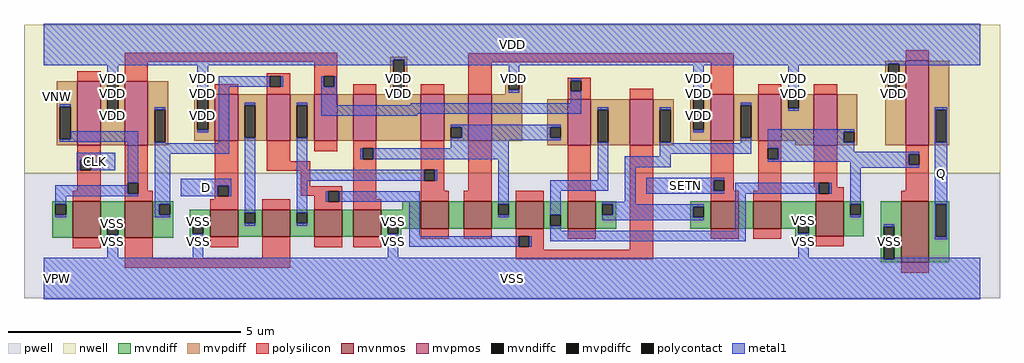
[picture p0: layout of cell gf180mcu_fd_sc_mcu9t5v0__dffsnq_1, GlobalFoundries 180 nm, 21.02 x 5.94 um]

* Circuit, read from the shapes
.subckt gf180mcu_fd_sc_mcu9t5v0__dffsnq_1 D SETN CLK Q VDD VNW VPW VSS
XM1 VSS CLK n1 VPW nfet_06v0 w=0.79u l=0.6u
XM2 n2 n1 VSS VPW nfet_06v0 w=0.79u l=0.6u
XM3 n3 D VSS VPW nfet_06v0 w=0.59u l=0.6u
XM4 n4 n1 n3 VPW nfet_06v0 w=0.59u l=0.6u
XM5 n5 n2 n4 VPW nfet_06v0 w=0.59u l=0.6u
XM6 VSS n6 n5 VPW nfet_06v0 w=0.59u l=0.6u
XM7 n7 n4 VSS VPW nfet_06v0 w=0.59u l=0.6u
XM8 n6 SETN n7 VPW nfet_06v0 w=0.59u l=0.6u
XM9 n8 n2 n6 VPW nfet_06v0 w=0.59u l=0.6u
XM10 n9 n1 n8 VPW nfet_06v0 w=0.59u l=0.6u
XM11 n10 SETN n9 VPW nfet_06v0 w=0.59u l=0.6u
XM12 VSS n11 n10 VPW nfet_06v0 w=0.59u l=0.6u
XM13 n11 n8 VSS VPW nfet_06v0 w=0.75u l=0.6u
XM14 Q n11 VSS VPW nfet_06v0 w=1.32u l=0.6u
XM15 VDD CLK n1 VNW pfet_06v0 w=1.38u l=0.5u
XM16 n2 n1 VDD VNW pfet_06v0 w=1.38u l=0.5u
XM17 n3 D VDD VNW pfet_06v0 w=1u l=0.5u
XM18 n4 n2 n3 VNW pfet_06v0 w=1u l=0.5u
XM19 n12 n1 n4 VNW pfet_06v0 w=1u l=0.5u
XM20 VDD n6 n12 VNW pfet_06v0 w=1u l=0.5u
XM21 n6 n4 VDD VNW pfet_06v0 w=1u l=0.5u
XM22 VDD SETN n6 VNW pfet_06v0 w=1u l=0.5u
XM23 n8 n1 n6 VNW pfet_06v0 w=1u l=0.5u
XM24 n9 n2 n8 VNW pfet_06v0 w=1u l=0.5u
XM25 n9 SETN VDD VNW pfet_06v0 w=1u l=0.5u
XM26 VDD n11 n9 VNW pfet_06v0 w=1u l=0.5u
XM27 n11 n8 VDD VNW pfet_06v0 w=1.1u l=0.5u
XM28 Q n11 VDD VNW pfet_06v0 w=1.83u l=0.5u
.ends

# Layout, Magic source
magic
tech gf180mcuD
magscale 1 10
<< nwell >>
rect -86 453 4118 1094
<< pwell >>
rect -86 -86 4118 453
<< mvnmos >>
rect 124 175 244 333
rect 348 175 468 333
rect 716 179 836 297
rect 940 179 1060 297
rect 1164 179 1284 297
rect 1332 179 1452 297
rect 1624 215 1744 333
rect 1808 215 1928 333
rect 2032 215 2152 333
rect 2256 215 2376 333
rect 2872 215 2992 333
rect 3056 215 3176 333
rect 3324 183 3444 333
rect 3692 69 3812 333
<< mvpmos >>
rect 144 573 244 849
rect 348 573 448 849
rect 736 593 836 793
rect 960 593 1060 793
rect 1164 593 1264 793
rect 1332 593 1432 793
rect 1624 593 1724 793
rect 1828 593 1928 793
rect 2256 573 2356 773
rect 2524 573 2624 773
rect 2872 593 2972 793
rect 3076 593 3176 793
rect 3316 573 3416 793
rect 3712 573 3812 939
<< mvndiff >>
rect 36 320 124 333
rect 36 274 49 320
rect 95 274 124 320
rect 36 175 124 274
rect 244 234 348 333
rect 244 188 273 234
rect 319 188 348 234
rect 244 175 348 188
rect 468 320 556 333
rect 468 274 497 320
rect 543 274 556 320
rect 1544 297 1624 333
rect 468 175 556 274
rect 628 238 716 297
rect 628 192 641 238
rect 687 192 716 238
rect 628 179 716 192
rect 836 284 940 297
rect 836 238 865 284
rect 911 238 940 284
rect 836 179 940 238
rect 1060 284 1164 297
rect 1060 238 1089 284
rect 1135 238 1164 284
rect 1060 179 1164 238
rect 1284 179 1332 297
rect 1452 238 1624 297
rect 1452 192 1481 238
rect 1527 215 1624 238
rect 1744 215 1808 333
rect 1928 320 2032 333
rect 1928 274 1957 320
rect 2003 274 2032 320
rect 1928 215 2032 274
rect 2152 274 2256 333
rect 2152 228 2181 274
rect 2227 228 2256 274
rect 2152 215 2256 228
rect 2376 320 2464 333
rect 2376 274 2405 320
rect 2451 274 2464 320
rect 2376 215 2464 274
rect 1527 192 1540 215
rect 1452 179 1540 192
rect 2784 309 2872 333
rect 2784 263 2797 309
rect 2843 263 2872 309
rect 2784 215 2872 263
rect 2992 215 3056 333
rect 3176 242 3324 333
rect 3176 215 3249 242
rect 3236 196 3249 215
rect 3295 196 3324 242
rect 3236 183 3324 196
rect 3444 320 3532 333
rect 3444 274 3473 320
rect 3519 274 3532 320
rect 3444 183 3532 274
rect 3604 222 3692 333
rect 3604 82 3617 222
rect 3663 82 3692 222
rect 3604 69 3692 82
rect 3812 320 3900 333
rect 3812 180 3841 320
rect 3887 180 3900 320
rect 3812 69 3900 180
<< mvpdiff >>
rect 56 739 144 849
rect 56 599 69 739
rect 115 599 144 739
rect 56 573 144 599
rect 244 836 348 849
rect 244 696 273 836
rect 319 696 348 836
rect 244 573 348 696
rect 448 726 536 849
rect 1492 943 1564 956
rect 1492 803 1505 943
rect 1551 803 1564 943
rect 1492 793 1564 803
rect 1988 858 2060 871
rect 1988 812 2001 858
rect 2047 812 2060 858
rect 1988 793 2060 812
rect 448 586 477 726
rect 523 586 536 726
rect 648 780 736 793
rect 648 640 661 780
rect 707 640 736 780
rect 648 593 736 640
rect 836 746 960 793
rect 836 606 865 746
rect 911 606 960 746
rect 836 593 960 606
rect 1060 746 1164 793
rect 1060 606 1089 746
rect 1135 606 1164 746
rect 1060 593 1164 606
rect 1264 593 1332 793
rect 1432 593 1624 793
rect 1724 652 1828 793
rect 1724 606 1753 652
rect 1799 606 1828 652
rect 1724 593 1828 606
rect 1928 593 2060 793
rect 3624 926 3712 939
rect 2784 780 2872 793
rect 2168 652 2256 773
rect 2168 606 2181 652
rect 2227 606 2256 652
rect 448 573 536 586
rect 2168 573 2256 606
rect 2356 726 2524 773
rect 2356 586 2385 726
rect 2431 586 2524 726
rect 2356 573 2524 586
rect 2624 726 2712 773
rect 2624 586 2653 726
rect 2699 586 2712 726
rect 2784 640 2797 780
rect 2843 640 2872 780
rect 2784 593 2872 640
rect 2972 746 3076 793
rect 2972 606 3001 746
rect 3047 606 3076 746
rect 2972 593 3076 606
rect 3176 780 3316 793
rect 3176 734 3205 780
rect 3251 734 3316 780
rect 3176 593 3316 734
rect 2624 573 2712 586
rect 3236 573 3316 593
rect 3416 632 3504 793
rect 3416 586 3445 632
rect 3491 586 3504 632
rect 3416 573 3504 586
rect 3624 786 3637 926
rect 3683 786 3712 926
rect 3624 573 3712 786
rect 3812 726 3900 939
rect 3812 586 3841 726
rect 3887 586 3900 726
rect 3812 573 3900 586
<< mvndiffc >>
rect 49 274 95 320
rect 273 188 319 234
rect 497 274 543 320
rect 641 192 687 238
rect 865 238 911 284
rect 1089 238 1135 284
rect 1481 192 1527 238
rect 1957 274 2003 320
rect 2181 228 2227 274
rect 2405 274 2451 320
rect 2797 263 2843 309
rect 3249 196 3295 242
rect 3473 274 3519 320
rect 3617 82 3663 222
rect 3841 180 3887 320
<< mvpdiffc >>
rect 69 599 115 739
rect 273 696 319 836
rect 1505 803 1551 943
rect 2001 812 2047 858
rect 477 586 523 726
rect 661 640 707 780
rect 865 606 911 746
rect 1089 606 1135 746
rect 1753 606 1799 652
rect 2181 606 2227 652
rect 2385 586 2431 726
rect 2653 586 2699 726
rect 2797 640 2843 780
rect 3001 606 3047 746
rect 3205 734 3251 780
rect 3445 586 3491 632
rect 3637 786 3683 926
rect 3841 586 3887 726
<< polysilicon >>
rect 348 933 1264 973
rect 144 849 244 893
rect 348 849 448 933
rect 960 872 1060 885
rect 736 793 836 837
rect 960 826 973 872
rect 1019 826 1060 872
rect 960 793 1060 826
rect 1164 872 1264 933
rect 1164 826 1205 872
rect 1251 826 1264 872
rect 1164 793 1264 826
rect 1332 793 1432 837
rect 1828 931 2972 971
rect 3712 939 3812 983
rect 1624 793 1724 837
rect 1828 793 1928 931
rect 2256 852 2356 865
rect 2256 806 2269 852
rect 2315 806 2356 852
rect 2256 773 2356 806
rect 2524 773 2624 817
rect 2872 793 2972 931
rect 3076 793 3176 837
rect 3316 793 3416 837
rect 144 512 244 573
rect 144 466 157 512
rect 203 466 244 512
rect 144 377 244 466
rect 124 333 244 377
rect 348 412 448 573
rect 348 366 361 412
rect 407 377 448 412
rect 736 400 836 593
rect 960 504 1060 593
rect 1164 549 1264 593
rect 1332 560 1432 593
rect 1332 514 1373 560
rect 1419 514 1432 560
rect 960 464 1147 504
rect 407 366 468 377
rect 348 333 468 366
rect 736 354 749 400
rect 795 354 836 400
rect 1107 397 1147 464
rect 1107 376 1284 397
rect 1107 357 1225 376
rect 736 341 836 354
rect 716 297 836 341
rect 940 297 1060 341
rect 1164 330 1225 357
rect 1271 330 1284 376
rect 1164 297 1284 330
rect 1332 341 1432 514
rect 1624 468 1724 593
rect 1624 422 1637 468
rect 1683 422 1724 468
rect 1624 377 1724 422
rect 1828 377 1928 593
rect 2256 377 2356 573
rect 1332 297 1452 341
rect 1624 333 1744 377
rect 1808 333 1928 377
rect 2032 333 2152 377
rect 2256 333 2376 377
rect 124 131 244 175
rect 348 87 468 175
rect 716 135 836 179
rect 940 87 1060 179
rect 1164 135 1284 179
rect 1332 135 1452 179
rect 1624 171 1744 215
rect 1808 171 1928 215
rect 2032 182 2152 215
rect 2032 136 2045 182
rect 2091 136 2152 182
rect 2256 171 2376 215
rect 348 47 1060 87
rect 2032 123 2152 136
rect 2524 123 2624 573
rect 2872 423 2972 593
rect 2872 377 2885 423
rect 2931 377 2972 423
rect 3076 560 3176 593
rect 3076 514 3117 560
rect 3163 514 3176 560
rect 3076 377 3176 514
rect 3316 412 3416 573
rect 3316 393 3337 412
rect 2872 333 2992 377
rect 3056 333 3176 377
rect 3324 366 3337 393
rect 3383 393 3416 412
rect 3712 535 3812 573
rect 3712 489 3725 535
rect 3771 489 3812 535
rect 3383 366 3444 393
rect 3712 377 3812 489
rect 3324 333 3444 366
rect 3692 333 3812 377
rect 2872 171 2992 215
rect 3056 171 3176 215
rect 3324 139 3444 183
rect 2032 83 2624 123
rect 3692 25 3812 69
<< polycontact >>
rect 973 826 1019 872
rect 1205 826 1251 872
rect 2269 806 2315 852
rect 157 466 203 512
rect 361 366 407 412
rect 1373 514 1419 560
rect 749 354 795 400
rect 1225 330 1271 376
rect 1637 422 1683 468
rect 2045 136 2091 182
rect 2885 377 2931 423
rect 3117 514 3163 560
rect 3337 366 3383 412
rect 3725 489 3771 535
<< metal1 >>
rect 0 943 4032 1098
rect 0 918 1505 943
rect 273 836 319 918
rect 69 739 115 750
rect 661 780 707 918
rect 273 685 319 696
rect 477 726 523 737
rect 115 599 407 634
rect 69 588 407 599
rect 142 512 306 542
rect 142 466 157 512
rect 203 466 306 512
rect 361 412 407 588
rect 49 366 361 401
rect 49 355 407 366
rect 661 629 707 640
rect 753 826 973 872
rect 1019 826 1030 872
rect 1194 826 1205 872
rect 1251 826 1262 872
rect 477 583 523 586
rect 753 583 799 826
rect 477 537 799 583
rect 865 746 911 757
rect 49 320 95 355
rect 49 263 95 274
rect 477 320 543 537
rect 590 400 806 430
rect 590 354 749 400
rect 795 354 806 400
rect 477 274 497 320
rect 477 263 543 274
rect 865 284 911 606
rect 273 234 319 245
rect 273 90 319 188
rect 641 238 687 249
rect 865 227 911 238
rect 1089 746 1135 757
rect 1194 746 1262 826
rect 1551 926 4032 943
rect 1551 918 3637 926
rect 1505 792 1551 803
rect 2001 858 2047 918
rect 2001 801 2047 812
rect 2269 852 2315 863
rect 2269 755 2315 806
rect 1579 746 2315 755
rect 1194 709 2315 746
rect 2797 780 2843 918
rect 2385 726 2431 737
rect 1194 700 1607 709
rect 1089 468 1135 606
rect 1753 652 2227 663
rect 1799 606 2181 652
rect 1753 595 2227 606
rect 1753 560 2003 595
rect 1362 514 1373 560
rect 1419 514 2003 560
rect 1089 422 1637 468
rect 1683 422 1694 468
rect 1089 284 1135 422
rect 1214 330 1225 376
rect 1271 330 1619 376
rect 1089 227 1135 238
rect 1481 238 1527 249
rect 641 90 687 192
rect 1481 90 1527 192
rect 1573 182 1619 330
rect 1957 320 2003 514
rect 2385 423 2431 586
rect 2653 726 2699 737
rect 3205 780 3251 918
rect 2797 629 2843 640
rect 3001 746 3047 757
rect 2653 583 2699 586
rect 3683 918 4032 926
rect 3637 775 3683 786
rect 3205 723 3251 734
rect 3838 726 3890 737
rect 3001 583 3047 606
rect 2653 537 3047 583
rect 3117 632 3491 643
rect 3117 586 3445 632
rect 3117 560 3491 586
rect 2653 526 2699 537
rect 1957 263 2003 274
rect 2181 377 2431 423
rect 2502 480 2699 526
rect 3163 546 3491 560
rect 3838 586 3841 726
rect 3887 586 3890 726
rect 3163 535 3771 546
rect 3163 514 3725 535
rect 3117 503 3725 514
rect 3473 489 3725 503
rect 2181 274 2227 377
rect 2502 331 2548 480
rect 3473 478 3771 489
rect 2594 423 2931 434
rect 2594 377 2885 423
rect 2594 366 2931 377
rect 2977 366 3337 412
rect 3383 366 3394 412
rect 2405 320 2548 331
rect 2451 309 2843 320
rect 2451 274 2797 309
rect 2405 263 2797 274
rect 2405 252 2843 263
rect 2181 206 2227 228
rect 2977 206 3023 366
rect 3473 320 3519 478
rect 3473 263 3519 274
rect 3838 320 3890 586
rect 1573 136 2045 182
rect 2091 136 2102 182
rect 2181 160 3023 206
rect 3249 242 3295 253
rect 3249 90 3295 196
rect 3617 222 3663 233
rect 0 82 3617 90
rect 3838 180 3841 320
rect 3887 180 3890 320
rect 3838 169 3890 180
rect 3663 82 4032 90
rect 0 -90 4032 82
<< labels >>
flabel metal1 s 142 466 306 542 0 FreeSans 200 0 0 0 CLK
port 3 nsew clock input
flabel metal1 s 590 354 806 430 0 FreeSans 200 0 0 0 D
port 1 nsew default input
flabel metal1 s 3838 169 3890 737 0 FreeSans 200 0 0 0 Q
port 4 nsew default output
flabel metal1 s 2594 366 2931 434 0 FreeSans 200 0 0 0 SETN
port 2 nsew default input
flabel metal1 s 0 918 4032 1098 0 FreeSans 200 0 0 0 VDD
port 5 nsew power bidirectional abutment
flabel metal1 s 3249 249 3295 253 0 FreeSans 200 0 0 0 VSS
port 8 nsew ground bidirectional abutment
flabel nwell s 10 734 110 834 0 FreeSans 400 0 0 0 VNW
port 6 nsew power bidirectional
flabel pwell s 10 -50 110 50 0 FreeSans 400 0 0 0 VPW
port 7 nsew ground bidirectional
rlabel metal1 s 3637 801 3683 918 1 VDD
port 5 nsew power bidirectional abutment
rlabel metal1 s 3205 801 3251 918 1 VDD
port 5 nsew power bidirectional abutment
rlabel metal1 s 2797 801 2843 918 1 VDD
port 5 nsew power bidirectional abutment
rlabel metal1 s 2001 801 2047 918 1 VDD
port 5 nsew power bidirectional abutment
rlabel metal1 s 1505 801 1551 918 1 VDD
port 5 nsew power bidirectional abutment
rlabel metal1 s 661 801 707 918 1 VDD
port 5 nsew power bidirectional abutment
rlabel metal1 s 273 801 319 918 1 VDD
port 5 nsew power bidirectional abutment
rlabel metal1 s 3637 792 3683 801 1 VDD
port 5 nsew power bidirectional abutment
rlabel metal1 s 3205 792 3251 801 1 VDD
port 5 nsew power bidirectional abutment
rlabel metal1 s 2797 792 2843 801 1 VDD
port 5 nsew power bidirectional abutment
rlabel metal1 s 1505 792 1551 801 1 VDD
port 5 nsew power bidirectional abutment
rlabel metal1 s 661 792 707 801 1 VDD
port 5 nsew power bidirectional abutment
rlabel metal1 s 273 792 319 801 1 VDD
port 5 nsew power bidirectional abutment
rlabel metal1 s 3637 775 3683 792 1 VDD
port 5 nsew power bidirectional abutment
rlabel metal1 s 3205 775 3251 792 1 VDD
port 5 nsew power bidirectional abutment
rlabel metal1 s 2797 775 2843 792 1 VDD
port 5 nsew power bidirectional abutment
rlabel metal1 s 661 775 707 792 1 VDD
port 5 nsew power bidirectional abutment
rlabel metal1 s 273 775 319 792 1 VDD
port 5 nsew power bidirectional abutment
rlabel metal1 s 3205 723 3251 775 1 VDD
port 5 nsew power bidirectional abutment
rlabel metal1 s 2797 723 2843 775 1 VDD
port 5 nsew power bidirectional abutment
rlabel metal1 s 661 723 707 775 1 VDD
port 5 nsew power bidirectional abutment
rlabel metal1 s 273 723 319 775 1 VDD
port 5 nsew power bidirectional abutment
rlabel metal1 s 2797 685 2843 723 1 VDD
port 5 nsew power bidirectional abutment
rlabel metal1 s 661 685 707 723 1 VDD
port 5 nsew power bidirectional abutment
rlabel metal1 s 273 685 319 723 1 VDD
port 5 nsew power bidirectional abutment
rlabel metal1 s 2797 629 2843 685 1 VDD
port 5 nsew power bidirectional abutment
rlabel metal1 s 661 629 707 685 1 VDD
port 5 nsew power bidirectional abutment
rlabel metal1 s 3249 245 3295 249 1 VSS
port 8 nsew ground bidirectional abutment
rlabel metal1 s 1481 245 1527 249 1 VSS
port 8 nsew ground bidirectional abutment
rlabel metal1 s 641 245 687 249 1 VSS
port 8 nsew ground bidirectional abutment
rlabel metal1 s 3249 233 3295 245 1 VSS
port 8 nsew ground bidirectional abutment
rlabel metal1 s 1481 233 1527 245 1 VSS
port 8 nsew ground bidirectional abutment
rlabel metal1 s 641 233 687 245 1 VSS
port 8 nsew ground bidirectional abutment
rlabel metal1 s 273 233 319 245 1 VSS
port 8 nsew ground bidirectional abutment
rlabel metal1 s 3617 90 3663 233 1 VSS
port 8 nsew ground bidirectional abutment
rlabel metal1 s 3249 90 3295 233 1 VSS
port 8 nsew ground bidirectional abutment
rlabel metal1 s 1481 90 1527 233 1 VSS
port 8 nsew ground bidirectional abutment
rlabel metal1 s 641 90 687 233 1 VSS
port 8 nsew ground bidirectional abutment
rlabel metal1 s 273 90 319 233 1 VSS
port 8 nsew ground bidirectional abutment
rlabel metal1 s 0 -90 4032 90 1 VSS
port 8 nsew ground bidirectional abutment
<< properties >>
string FIXED_BBOX 0 0 4032 1008
string GDS_END 673602
string GDS_FILE $PDKPATH/libs.ref/gf180mcu_fd_sc_mcu9t5v0/gds/gf180mcu_fd_sc_mcu9t5v0.gds
string GDS_START 664556
string LEFclass core
string LEFsite GF018hv5v_green_sc9
string LEFsymmetry X Y
<< end >>
